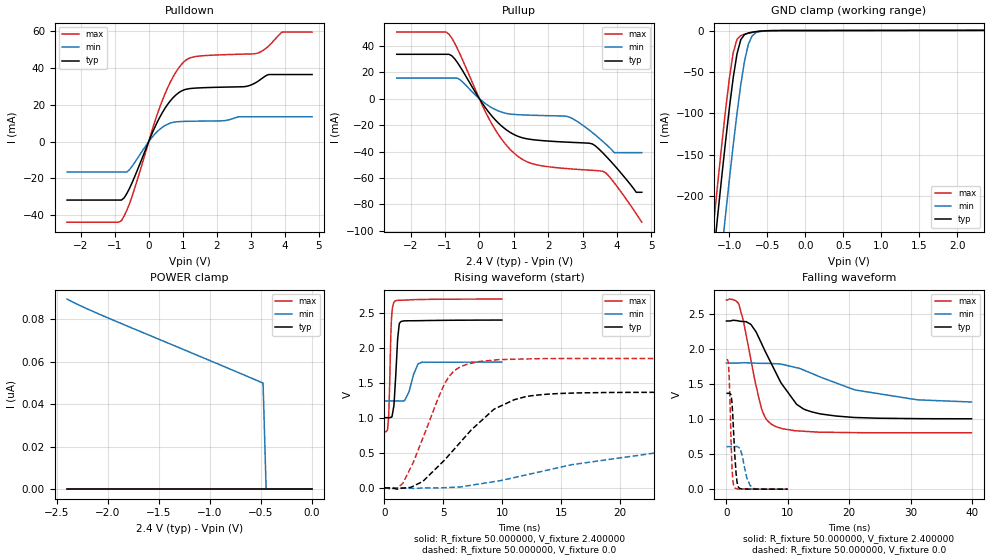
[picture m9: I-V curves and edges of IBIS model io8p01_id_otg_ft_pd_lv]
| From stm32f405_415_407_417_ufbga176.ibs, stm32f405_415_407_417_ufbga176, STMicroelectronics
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|   Model io8p01_id_otg_ft_pd_lv
[Model]  io8p01_id_otg_ft_pd_lv
Model_type I/O
Polarity   Non-Inverting
Enable   Active-Low
Vinl =   0.720000V
Vinh =   1.680000V
Vmeas =  1.200000V
Cref =   50.000000pF
Rref =   100.000000M
Vref =   0.0V
C_comp   2.229800pF   2.169700pF   2.325100pF
[Temperature Range]   25.000000   0.125000k   -40.000000
[Pullup Reference]   2.400000V   1.800000V   2.700000V
[Pulldown Reference]   0.0V   0.0V   0.0V
[POWER Clamp Reference]   2.400000V   1.800000V   2.700000V
[GND Clamp Reference]   0.0V   0.0V   0.0V
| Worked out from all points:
|   slope of the pulldown table from 0 to 0.36 V, typ, clamps not added: 25 ohm
|   slope of the pullup table from 0 to 0.36 V, typ, clamps not added: 27.7 ohm
|   GND clamp passes 1 mA (typ) near -0.62 V on its own axis
|   rising waveform, R_fixture 50.000000, V_fixture 2.400000: 20-80 % time 274ps typ, 609ps min, 184ps max; typ from 1 V to 2.4 V
|   rising waveform, R_fixture 50.000000, V_fixture 0.0: 20-80 % time 4.75ns typ, 12.1ns min, 2.63ns max; typ from 0 V to 1.37 V
|   falling waveform, R_fixture 50.000000, V_fixture 2.400000: 20-80 % time 5.33ns typ, 12.4ns min, 2.68ns max; typ from 2.4 V to 1 V
|   falling waveform, R_fixture 50.000000, V_fixture 0.0: 20-80 % time 523ps typ, 974ps min, 382ps max; typ from 1.37 V to 0 V
[Pulldown]
|Voltage   I(typ)   I(min)   I(max)
-2.4V     -31.73mA   -16.51mA   -43.74mA
-800mV    -31.73mA   -16.51mA   -42.87mA
-480mV    -21.97mA   -13.17mA   -29.2mA
80mV      3.629mA    1.966mA    5.013mA
480mV     18.15mA    8.737mA    26.01mA
800mV     25.37mA    10.71mA    37.77mA
1.12V     28.53mA    11.02mA    44.6mA
2.8V      29.83mA    13.48mA    47.51mA
3.2V      32.64mA    13.48mA    48.03mA
3.52V     36.41mA    13.48mA    51.82mA
3.92V     36.41mA    13.48mA    59.47mA
4.8V      36.41mA    13.48mA    59.47mA
[Pullup]
|Voltage   I(typ)   I(min)   I(max)
-2.4V     33.56mA    15.56mA    50.36mA
-960mV    33.56mA    15.56mA    50.36mA
-560mV    24.28mA    14.3mA     33.54mA
320mV     -11.75mA   -6.207mA   -17.08mA
960mV     -26.47mA   -11.82mA   -40.02mA
1.52V     -30.88mA   -12.51mA   -49.05mA
2.56V     -32.88mA   -13.48mA   -52.9mA
3.28V     -34.19mA   -25.52mA   -54.18mA
3.6V      -41.31mA   -32.62mA   -54.98mA
3.92V     -50.33mA   -40.8mA    -63.62mA
4.56V     -70.8mA    -40.8mA    -87.07mA
4.72V     -70.8mA    -40.8mA    -93.4mA
[GND_clamp]
|Voltage   I(typ)   I(min)   I(max)
-2.4V     -1.424A    -1.508A    -1.393A
-1.25V    -311.2mA   -401.9mA   -273.3mA
-1.2V     -265.4mA   -356.1mA   -227.2mA
-1.15V    -220.4mA   -310.8mA   -181.9mA
-1.1V     -176.3mA   -266.2mA   -137.9mA
-1.05V    -133.8mA   -222.5mA   -95.89mA
-950mV    -57.33mA   -138.9mA   -27.03mA
-900mV    -28.31mA   -100.4mA   -10.67mA
-850mV    -11.07mA   -65.56mA   -6.047mA
-750mV    -2.904mA   -16.55mA   -3.26mA
-600mV    -808.2uA   -1.212mA   -806.8uA
2.35V     242.6uA    152uA      283.9uA
[POWER_clamp]
|Voltage   I(typ)   I(min)   I(max)
-2.4V     0A         89.62nA    0A
-2.04V    0A         81.58nA    0A
-480mV    0A         50.01nA    0A
-450mV    0A         0A         0A
0V        0A         0A         0A
[Ramp]
| variable   typ   min   max
dV/dt_r  0.81972/4.74740n   0.38296/12.98931n   1.10814/2.62236n
dV/dt_f  0.83652/5.33582n   0.32454/13.33360n   1.13626/2.67745n
R_load = 50.000000
[Rising Waveform]
R_fixture= 50.000000
V_fixture= 2.400000
V_fixture_min= 1.800000
V_fixture_max= 2.700000
|time   V(typ)   V(min)   V(max)
0s        1.003V     1.242V     802.8mV
260.3ps   1.003V     1.242V     829mV
340.3ps   1.002V     1.242V     985.7mV
600.6ps   1.011V     1.242V     2.429V
860.9ps   1.335V     1.242V     2.662V
1.121ns   2.133V     1.242V     2.677V
1.381ns   2.372V     1.24V      2.679V
1.722ns   2.385V     1.25V      2.681V
3.203ns   2.388V     1.794V     2.69V
9.97ns    2.396V     1.796V     2.696V
[Rising Waveform]
R_fixture= 50.000000
V_fixture= 0.0
V_fixture_min= 0.0
V_fixture_max= 0.0
|time   V(typ)   V(min)   V(max)
0s        178uV      73.93uV    445.1uV
1.602ns   -2.678mV   -101.3uV   77.5mV
3.283ns   96.81mV    -688.3uV   721.7mV
5.125ns   401.2mV    3.286mV    1.491V
5.926ns   553.2mV    8.881mV    1.669V
7.047ns   766mV      29.21mV    1.767V
9.369ns   1.129V     91.25mV    1.826V
13.05ns   1.326V     223.9mV    1.845V
24.82ns   1.365V     541mV      1.848V
39.88ns   1.366V     606.5mV    1.847V
[Falling Waveform]
R_fixture= 50.000000
V_fixture= 2.400000
V_fixture_min= 1.800000
V_fixture_max= 2.700000
|time   V(typ)   V(min)   V(max)
0s        2.396V     1.796V     2.696V
2.002ns   2.395V     1.797V     2.639V
2.803ns   2.387V     1.801V     2.376V
3.924ns   2.351V     1.798V     1.87V
5.766ns   2.065V     1.792V     1.132V
7.608ns   1.736V     1.788V     909.9mV
11.37ns   1.214V     1.731V     831.2mV
13.93ns   1.1V       1.647V     817.7mV
20.9ns    1.021V     1.414V     805.4mV
39.88ns   1.003V     1.242V     802.8mV
[Falling Waveform]
R_fixture= 50.000000
V_fixture= 0.0
V_fixture_min= 0.0
V_fixture_max= 0.0
|time   V(typ)   V(min)   V(max)
0s        1.366V     606.5mV    1.847V
380.4ps   1.366V     606.5mV    1.715V
480.5ps   1.366V     606.5mV    1.517V
880.9ps   1.252V     606.3mV    357.4mV
1.061ns   998.8mV    606mV      112.1mV
1.261ns   651.3mV    605.9mV    33.58mV
1.702ns   116.4mV    608mV      4.921mV
2.062ns   17.35mV    591mV      2.714mV
3.864ns   959.2uV    52.29mV    1.312mV
9.97ns    178uV      73.93uV    445.1uV
